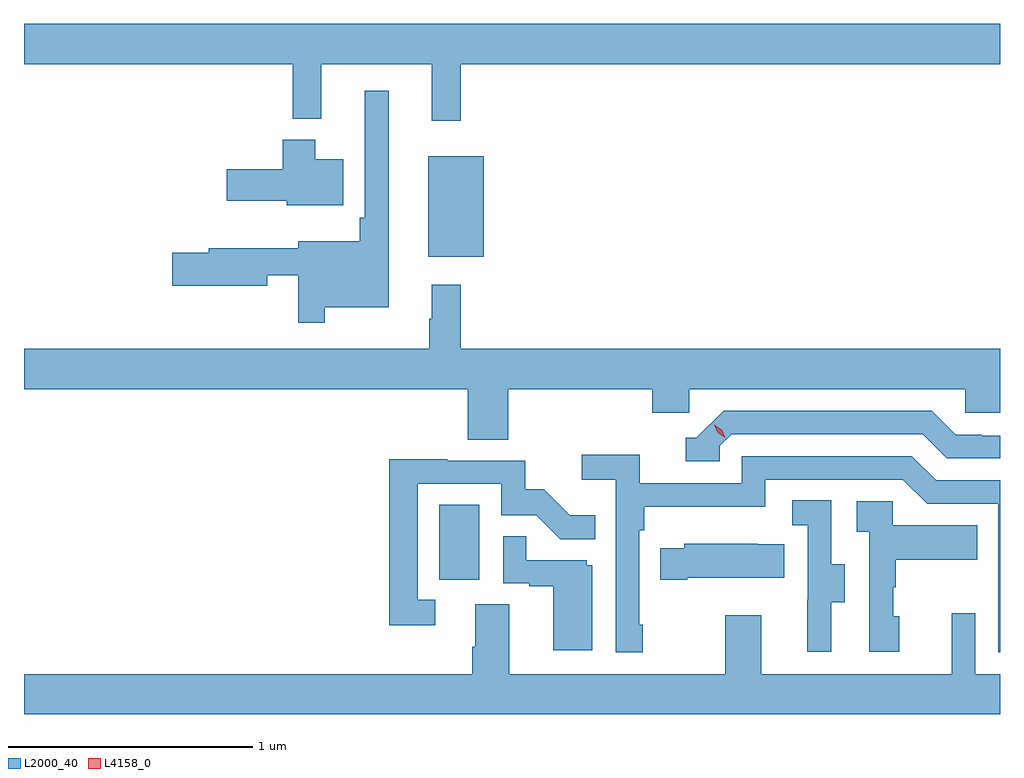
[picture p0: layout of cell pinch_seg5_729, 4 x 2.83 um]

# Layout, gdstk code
import gdstk
lib = gdstk.Library(unit=1e-6, precision=1e-09)
def R(c, l, rs):  # rectangles x0, y0, x1, y1
    for r in rs: c.add(gdstk.rectangle(r[:2], r[2:], *l))
def P(c, l, *ps):  # polygons
    for p in ps: c.add(gdstk.Polygon(p, *l))
L2000_40 = (2000, 40)
L4158_0 = (4158, 0)

pinch_seg5_729 = lib.new_cell('pinch_seg5_729')
R(pinch_seg5_729, L2000_40, [(879.716,905.262,879.88,905.569), (879.671,906.587,879.898,906.997)])
P(pinch_seg5_729, L2000_40, [(879.803,907.376),(882.014,907.376),(882.014,907.54),(878.014,907.54),(878.014,907.376),(879.115,907.376),(879.115,907.151),(879.233,907.151),(879.233,907.376),(879.686,907.376),(879.686,907.143),(879.803,907.143)],
  [(879.247,906.38),(879.508,906.38),(879.508,907.267),(879.411,907.267),(879.411,906.745),(879.391,906.745),(879.391,906.649),(879.137,906.649),(879.137,906.62),(878.771,906.62),(878.771,906.602),(878.622,906.602),(878.622,906.467),(879.01,906.467),(879.01,906.51),(879.138,906.51),(879.138,906.315),(879.247,906.315)],
  [(879.322,906.985),(879.208,906.985),(879.208,907.066),(879.074,907.066),(879.074,906.945),(878.844,906.945),(878.844,906.815),(879.09,906.815),(879.09,906.797),(879.322,906.797)],
  [(879.998,906.044),(880.589,906.044),(880.589,905.946),(880.74,905.946),(880.74,906.044),(881.871,906.044),(881.871,905.946),(882.014,905.946),(882.014,906.208),(879.803,906.208),(879.803,906.472),(879.686,906.472),(879.686,906.332),(879.675,906.332),(879.675,906.208),(878.014,906.208),(878.014,906.044),(879.833,906.044),(879.833,905.836),(879.998,905.836)],
  [(880.866,905.811),(880.914,905.859),(881.697,905.859),(881.796,905.76),(882.014,905.76),(882.014,905.853),(881.94,905.853),(881.94,905.856),(881.833,905.856),(881.734,905.955),(880.881,905.955),(880.77,905.844),(880.727,905.844),(880.727,905.748),(880.866,905.748)],
  [(880.549,905.077),(880.536,905.077),(880.536,905.465),(880.556,905.465),(880.556,905.561),(881.052,905.561),(881.052,905.673),(881.616,905.673),(881.715,905.574),(882.006,905.574),(882.006,904.965),(882.014,904.965),(882.014,905.67),(881.752,905.67),(881.653,905.769),(880.956,905.769),(880.956,905.658),(880.538,905.658),(880.538,905.774),(880.299,905.774),(880.299,905.672),(880.44,905.672),(880.44,904.965),(880.549,904.965)],
  [(879.7,905.181),(879.627,905.181),(879.627,905.655),(879.969,905.655),(879.969,905.526),(880.113,905.526),(880.211,905.428),(880.355,905.428),(880.355,905.527),(880.251,905.527),(880.144,905.634),(880.068,905.634),(880.068,905.751),(879.749,905.751),(879.749,905.756),(879.511,905.756),(879.511,905.076),(879.7,905.076)],
  [(881.323,905.17),(881.377,905.17),(881.377,905.325),(881.322,905.325),(881.322,905.588),(881.163,905.588),(881.163,905.485),(881.226,905.485),(881.226,905.181),(881.225,905.181),(881.225,904.968),(881.323,904.968)],
  [(881.602,905.112),(881.577,905.112),(881.577,905.231),(881.587,905.231),(881.587,905.345),(881.921,905.345),(881.921,905.485),(881.574,905.485),(881.574,905.583),(881.427,905.583),(881.427,905.459),(881.478,905.459),(881.478,904.968),(881.602,904.968)],
  [(880.342,905.322),(880.32,905.322),(880.32,905.343),(880.073,905.343),(880.073,905.441),(879.978,905.441),(879.978,905.247),(880.085,905.247),(880.085,905.235),(880.184,905.235),(880.184,904.974),(880.342,904.974)],
  [(880.732,905.27),(881.129,905.27),(881.129,905.407),(881.021,905.407),(881.021,905.41),(880.719,905.41),(880.719,905.392),(880.621,905.392),(880.621,905.263),(880.732,905.263)],
  [(882.014,904.876),(881.913,904.876),(881.913,905.125),(881.816,905.125),(881.816,904.876),(881.035,904.876),(881.035,905.116),(880.888,905.116),(880.888,904.876),(880.003,904.876),(880.003,905.162),(879.863,905.162),(879.863,904.988),(879.851,904.988),(879.851,904.876),(878.014,904.876),(878.014,904.712),(882.014,904.712)])
P(pinch_seg5_729, L4158_0, [(880.888,905.844),(880.858,905.864),(880.843,905.897),(880.843,905.897),(880.843,905.897),(880.873,905.877),(880.888,905.844),(880.888,905.844)])

lib.write_gds('pinch_seg5_729.gds')
